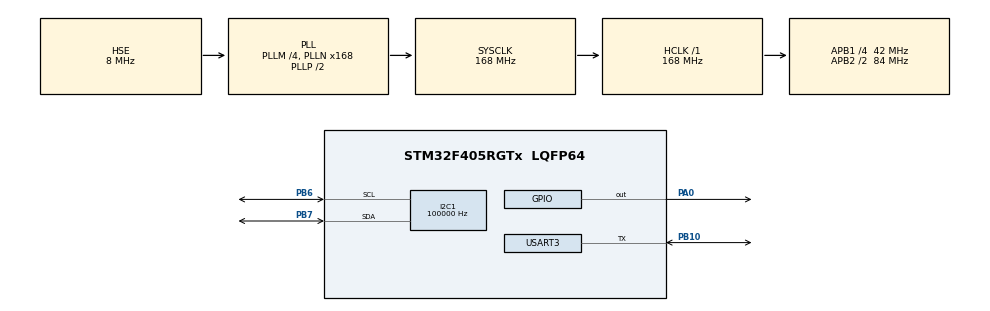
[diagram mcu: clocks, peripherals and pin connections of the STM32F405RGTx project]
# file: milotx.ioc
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I2C1.ClockSpeed=100000
I2C1.I2C_Mode=I2C_Fast
Mcu.Family=STM32F4
Mcu.Name=STM32F405RGTx
Mcu.Package=LQFP64
NVIC.PriorityGroup=NVIC_PRIORITYGROUP_4
PA0-WKUP.Signal=GPIO_Output
PA13.Mode=Serial_Wire
PA13.Signal=SYS_JTMS-SWDIO
PA14.Mode=Serial_Wire
PA14.Signal=SYS_JTCK-SWCLK
PB10.Mode=Half_duplex(single_wire_mode)
PB10.Signal=USART3_TX
PB6.Mode=I2C
PB6.Signal=I2C1_SCL
PB7.Mode=I2C
PB7.Signal=I2C1_SDA
PH0-OSC_IN.Mode=HSE-External-Oscillator
PH0-OSC_IN.Signal=RCC_OSC_IN
PH1-OSC_OUT.Mode=HSE-External-Oscillator
PH1-OSC_OUT.Signal=RCC_OSC_OUT
ProjectManager.HeapSize=0x200
ProjectManager.StackSize=0x400
ProjectManager.TargetToolchain=STM32CubeIDE
RCC.48MHZClocksFreq_Value=84000000
RCC.AHBFreq_Value=168000000
RCC.APB1CLKDivider=RCC_HCLK_DIV4
RCC.APB1Freq_Value=42000000
RCC.APB1TimFreq_Value=84000000
RCC.APB2CLKDivider=RCC_HCLK_DIV2
RCC.APB2Freq_Value=84000000
RCC.APB2TimFreq_Value=168000000
RCC.CortexFreq_Value=168000000
RCC.HCLKFreq_Value=168000000
RCC.HSE_VALUE=8000000
RCC.HSI_VALUE=16000000
RCC.LSE_VALUE=32768
RCC.PLLM=4
RCC.PLLN=168
RCC.PLLSourceVirtual=RCC_PLLSOURCE_HSE
RCC.SYSCLKFreq_VALUE=168000000
RCC.SYSCLKSource=RCC_SYSCLKSOURCE_PLLCLK
RCC.VCOOutputFreq_Value=336000000
USART3.VirtualMode=VM_ASYNC
board=custom

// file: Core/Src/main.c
/* USER CODE BEGIN Header */
/**
  ******************************************************************************
  * @file           : main.c
  * @brief          : Main program body
  ******************************************************************************
  * @attention
  *
  * Copyright (c) 2026 STMicroelectronics.
  * All rights reserved.
  *
  * This software is licensed under terms that can be found in the LICENSE file
  * in the root directory of this software component.
  * If no LICENSE file comes with this software, it is provided AS-IS.
  *
  ******************************************************************************
  */
/* USER CODE END Header */
#include "main.h"
#include "i2c.h"
#include "usart.h"
#include "gpio.h"

/* USER CODE BEGIN Includes */
#include "si5351.h"
#include <stdio.h>
#include <string.h>

/* USER CODE END Includes */

/* USER CODE BEGIN PD */
/* 1 = drive BRIDGE_ENABLE (PA2) high after the Si5351 is running, which gates
 * the LMG2100 HI/LI inputs on. 0 = bridge held off (R13 also pulls it low). */
#ifndef BRIDGE_ENABLE
#define BRIDGE_ENABLE          1
#endif

#define BRIDGE_ENABLE_GPIO_Port GPIOA
#define BRIDGE_ENABLE_Pin       GPIO_PIN_2

/* Bridge switching frequency. U2 (74LVC1G74) divides Si5351 CLK0 by 2 to make
 * the complementary TX_A/TX_B, so CLK0 runs at twice this. The output tank
 * and the RC dead time (~13 ns) are sized for 2 MHz. */

 /*This is the frequency present at the coil. set in increments of hz*/
#ifndef TX_FREQ_HZ
#define TX_FREQ_HZ             2003000UL
#endif

#define SI5351_CLK0_HZ         (2UL * (TX_FREQ_HZ))

#if (SI5351_CLK0_HZ < SI5351_FREQ_MIN) || (SI5351_CLK0_HZ > SI5351_FREQ_MAX)
#error "TX_FREQ_HZ out of range: CLK0 = 2 * TX_FREQ_HZ must be 2.5 kHz..112.5 MHz"
#endif

/* USER CODE END PD */

void SystemClock_Config(void);
/* USER CODE BEGIN PFP */
static void uart_print(const char *msg);
static void bridge_enable(bool enable);

/* USER CODE END PFP */

/* USER CODE BEGIN 0 */
static void uart_print(const char *msg)
{
  HAL_UART_Transmit(&huart3, (const uint8_t *)msg, (uint16_t)strlen(msg), 100U);
}

static void bridge_enable(bool enable)
{
  HAL_GPIO_WritePin(BRIDGE_ENABLE_GPIO_Port, BRIDGE_ENABLE_Pin,
                    enable ? GPIO_PIN_SET : GPIO_PIN_RESET);
}

/* USER CODE END 0 */

int main(void)
{

  /* MCU Configuration--------------------------------------------------------*/

  /* Reset of all peripherals, Initializes the Flash interface and the Systick. */
  HAL_Init();

  /* Configure the system clock */
  SystemClock_Config();

  /* Initialize all configured peripherals */
  MX_GPIO_Init();
  MX_I2C1_Init();
  MX_USART3_UART_Init();
  /* USER CODE BEGIN 2 */
  /* PA2 = BRIDGE_ENABLE, not in the .ioc: configure it here, driven low. */
  {
    GPIO_InitTypeDef GPIO_InitStruct = {0};

    bridge_enable(false);
    GPIO_InitStruct.Pin = BRIDGE_ENABLE_Pin;
    GPIO_InitStruct.Mode = GPIO_MODE_OUTPUT_PP;
    GPIO_InitStruct.Pull = GPIO_NOPULL;
    GPIO_InitStruct.Speed = GPIO_SPEED_FREQ_LOW;
    HAL_GPIO_Init(BRIDGE_ENABLE_GPIO_Port, &GPIO_InitStruct);
  }

  /* USART3 is single-wire half-duplex: put the line in transmit direction. */
  HAL_HalfDuplex_EnableTransmitter(&huart3);
  char line[160];
  snprintf(line, sizeof(line),
           "\r\nmilotx: TX = %lu Hz, configuring Si5351 CLK0 = %lu Hz over I2C1\r\n",
           (unsigned long)TX_FREQ_HZ, (unsigned long)SI5351_CLK0_HZ);
  uart_print(line);

  const char *si5351_err = NULL;
  if (si5351_init(&hi2c1) != HAL_OK)
  {
    si5351_err = "no response from Si5351 at 0x60 (check power, SDA/SCL, pull-ups)";
  }
  else if (si5351_set_freq(SI5351_CLK0, SI5351_PLLA, SI5351_CLK0_HZ, SI5351_DRIVE_8MA) != HAL_OK)
  {
    si5351_err = "PLLA did not lock (check 25 MHz TCXO on CLKIN)";
  }
  else if (si5351_output_enable(SI5351_CLK0, true) != HAL_OK)
  {
    si5351_err = "I2C write to output enable register failed";
  }

  if (si5351_err == NULL)
  {
    si5351_oeb(true);  /* PA0 low -> outputs on */
    snprintf(line, sizeof(line), "Si5351 configuration success: CLK0 = %lu Hz\r\n",
             (unsigned long)SI5351_CLK0_HZ);
    uart_print(line);
  }
  else
  {
    uint8_t status = 0xFFU;
    (void)si5351_read_status(&status);
    snprintf(line, sizeof(line), "Si5351 configuration FAILED: %s (status reg 0 = 0x%02X)\r\n",
             si5351_err, status);
    uart_print(line);
  }

  /* Only gate the bridge on once the TX drive clock is actually running. */
  if ((BRIDGE_ENABLE != 0) && (si5351_err == NULL))
  {
    bridge_enable(true);
    uart_print("BRIDGE_ENABLE (PA2) = 1: LMG2100 inputs ON\r\n");
  }
  else
  {
    uart_print("BRIDGE_ENABLE (PA2) = 0: LMG2100 inputs OFF\r\n");
  }

  /* USER CODE END 2 */

  /* Infinite loop */
  /* USER CODE BEGIN WHILE */
  uint32_t last_beat = HAL_GetTick();
  while (1)
  {
    /* USER CODE END WHILE */

    /* USER CODE BEGIN 3 */
    /* Heartbeat: proves the MCU and USART3 are alive even without the Si5351. */
    if ((HAL_GetTick() - last_beat) >= 1000U)
    {
      char line[80];
      uint8_t status;

      last_beat += 1000U;
      if (si5351_read_status(&status) == HAL_OK)
      {
        snprintf(line, sizeof(line), "alive %lus: Si5351 status reg 0 = 0x%02X\r\n",
                 (unsigned long)(last_beat / 1000U), status);
      }
      else
      {
        snprintf(line, sizeof(line), "alive %lus: Si5351 not responding on I2C\r\n",
                 (unsigned long)(last_beat / 1000U));
      }
      uart_print(line);
    }
  }
  /* USER CODE END 3 */
}

void SystemClock_Config(void)
{
  RCC_OscInitTypeDef RCC_OscInitStruct = {0};
  RCC_ClkInitTypeDef RCC_ClkInitStruct = {0};

  /** Configure the main internal regulator output voltage
  */
  __HAL_RCC_PWR_CLK_ENABLE();
  __HAL_PWR_VOLTAGESCALING_CONFIG(PWR_REGULATOR_VOLTAGE_SCALE1);

  /** Initializes the RCC Oscillators according to the specified parameters
  * in the RCC_OscInitTypeDef structure.
  */
  RCC_OscInitStruct.OscillatorType = RCC_OSCILLATORTYPE_HSE;
  RCC_OscInitStruct.HSEState = RCC_HSE_ON;
  RCC_OscInitStruct.PLL.PLLState = RCC_PLL_ON;
  RCC_OscInitStruct.PLL.PLLSource = RCC_PLLSOURCE_HSE;
  RCC_OscInitStruct.PLL.PLLM = 4;
  RCC_OscInitStruct.PLL.PLLN = 168;
  RCC_OscInitStruct.PLL.PLLP = RCC_PLLP_DIV2;
  RCC_OscInitStruct.PLL.PLLQ = 4;
  if (HAL_RCC_OscConfig(&RCC_OscInitStruct) != HAL_OK)
  {
    Error_Handler();
  }

  /** Initializes the CPU, AHB and APB buses clocks
  */
  RCC_ClkInitStruct.ClockType = RCC_CLOCKTYPE_HCLK|RCC_CLOCKTYPE_SYSCLK
                              |RCC_CLOCKTYPE_PCLK1|RCC_CLOCKTYPE_PCLK2;
  RCC_ClkInitStruct.SYSCLKSource = RCC_SYSCLKSOURCE_PLLCLK;
  RCC_ClkInitStruct.AHBCLKDivider = RCC_SYSCLK_DIV1;
  RCC_ClkInitStruct.APB1CLKDivider = RCC_HCLK_DIV4;
  RCC_ClkInitStruct.APB2CLKDivider = RCC_HCLK_DIV2;

  if (HAL_RCC_ClockConfig(&RCC_ClkInitStruct, FLASH_LATENCY_5) != HAL_OK)
  {
    Error_Handler();
  }
}

void Error_Handler(void)
{
  /* USER CODE BEGIN Error_Handler_Debug */
  /* Fall back to the 16 MHz HSI (e.g. HSE crystal failed to start) and keep
   * reporting on USART3. The guard stops recursion if USART3 init itself fails. */
  static volatile uint8_t in_error = 0U;
  bridge_enable(false);
  if (in_error == 0U)
  {
    in_error = 1U;
    (void)HAL_RCC_DeInit();
    MX_USART3_UART_Init();
    HAL_HalfDuplex_EnableTransmitter(&huart3);
    while (1)
    {
      uart_print("milotx: FATAL Error_Handler (HSE clock failed?), running on HSI\r\n");
      HAL_Delay(1000U);
    }
  }
  __disable_irq();
  while (1)
  {
  }
  /* USER CODE END Error_Handler_Debug */
}
